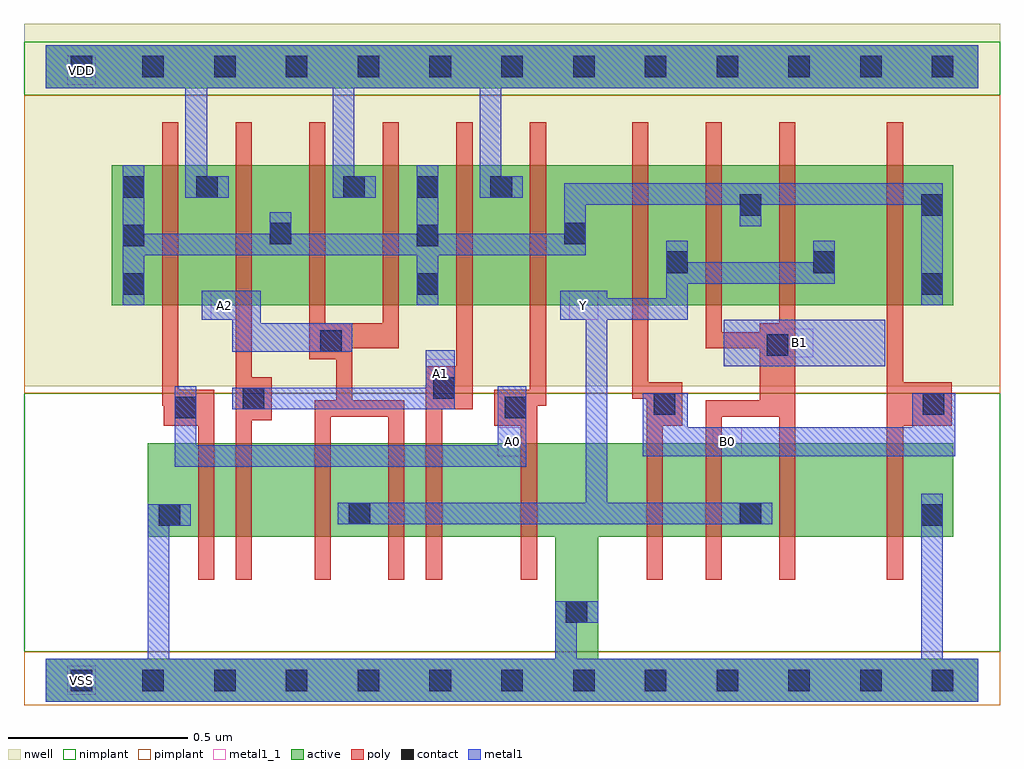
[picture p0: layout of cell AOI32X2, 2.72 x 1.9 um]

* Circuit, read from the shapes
.subckt AOI32X2 A0 A1 A2 B0 B1 VDD VSS Y
M1 n1 A0 VSS VSS nfet w=0.26u l=0.045u
M2 n2 A1 n1 VSS nfet w=0.26u l=0.045u
M3 Y A2 n2 VSS nfet w=0.26u l=0.045u
M4 n3 A2 Y VSS nfet w=0.26u l=0.045u
M5 n4 A1 n3 VSS nfet w=0.26u l=0.045u
M6 VSS A0 n4 VSS nfet w=0.26u l=0.045u
M7 n5 B0 VSS VSS nfet w=0.26u l=0.045u
M8 Y B1 n5 VSS nfet w=0.26u l=0.045u
M9 n6 B1 Y VSS nfet w=0.26u l=0.045u
M10 VSS B0 n6 VSS nfet w=0.26u l=0.045u
M11 VDD A0 n7 VDD pfet w=0.39u l=0.045u m=2
M12 n7 A1 VDD VDD pfet w=0.39u l=0.045u m=2
M13 VDD A2 n7 VDD pfet w=0.39u l=0.045u m=2
M14 Y B0 n7 VDD pfet w=0.39u l=0.045u m=2
M15 n7 B1 Y VDD pfet w=0.39u l=0.045u m=2
.ends

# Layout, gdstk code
import gdstk
lib = gdstk.Library(unit=1e-6, precision=5e-10)
def R(c, l, rs):  # rectangles x0, y0, x1, y1
    for r in rs: c.add(gdstk.rectangle(r[:2], r[2:], *l))
def A(c, l, x, y, w, h, nx, ny, dx, dy):  # array of equal rectangles
    R(c, l, [(x+i*dx, y+j*dy, x+i*dx+w, y+j*dy+h) for i in range(nx) for j in range(ny)])
def P(c, l, *ps):  # polygons
    for p in ps: c.add(gdstk.Polygon(p, *l))
active = (1, 0)
nwell = (2, 0)
poly = (3, 0)
nimplant = (4, 0)
pimplant = (5, 0)
contact = (6, 0)
metal1 = (7, 0)
metal1_1 = (7, 1)

aoi32x2 = lib.new_cell('AOI32X2')
R(aoi32x2, active, [(0.185,1.045,2.53,1.435), (0,1.65,2.6,1.77)])
P(aoi32x2, active, [(0.285,0.66),(2.53,0.66),(2.53,0.4),(1.54,0.4),(1.54,0.06),(2.6,0.06),(2.6,-0.06),(0,-0.06),(0,0.06),(1.42,0.06),(1.42,0.4),(0.285,0.4)])
R(aoi32x2, nwell, [(-0.06,0.82,2.66,1.83)])
P(aoi32x2, poly, [(0.325,1.555),(0.37,1.555),(0.37,0.81),(0.47,0.81),(0.47,0.28),(0.425,0.28),(0.425,0.71),(0.33,0.71),(0.33,0.765),(0.325,0.765)],
  [(0.53,1.555),(0.575,1.555),(0.575,0.845),(0.63,0.845),(0.63,0.725),(0.575,0.725),(0.575,0.28),(0.53,0.28)],
  [(0.735,1.555),(0.78,1.555),(0.78,0.995),(0.94,0.995),(0.94,1.555),(0.985,1.555),(0.985,0.925),(0.855,0.925),(0.855,0.78),(1,0.78),(1,0.28),(0.955,0.28),(0.955,0.735),(0.795,0.735),(0.795,0.28),(0.75,0.28),(0.75,0.78),(0.81,0.78),(0.81,0.895),(0.735,0.895)],
  [(1.145,1.555),(1.19,1.555),(1.19,0.755),(1.105,0.755),(1.105,0.28),(1.06,0.28),(1.06,0.875),(1.145,0.875)],
  [(1.35,1.555),(1.395,1.555),(1.395,0.765),(1.37,0.765),(1.37,0.28),(1.325,0.28),(1.325,0.71),(1.25,0.71),(1.25,0.81),(1.35,0.81)],
  [(1.635,1.555),(1.68,1.555),(1.68,0.83),(1.775,0.83),(1.775,0.71),(1.72,0.71),(1.72,0.28),(1.675,0.28),(1.675,0.785),(1.635,0.785)],
  [(1.84,1.555),(1.885,1.555),(1.885,0.97),(1.99,0.97),(1.99,0.995),(2.045,0.995),(2.045,1.555),(2.09,1.555),(2.09,0.28),(2.045,0.28),(2.045,0.735),(1.885,0.735),(1.885,0.28),(1.84,0.28),(1.84,0.78),(1.99,0.78),(1.99,0.925),(1.84,0.925)],
  [(2.345,1.555),(2.39,1.555),(2.39,0.83),(2.525,0.83),(2.525,0.71),(2.39,0.71),(2.39,0.28),(2.345,0.28)])
R(aoi32x2, nimplant, [(-0.06,0.08,2.66,0.8), (-0.06,1.63,2.66,1.78)])
R(aoi32x2, pimplant, [(-0.06,-0.07,2.66,0.08), (-0.06,0.8,2.66,1.63)])
A(aoi32x2, contact, 0.07, -0.03, 0.06, 0.06, 13, 2, 0.2, 1.71)
A(aoi32x2, contact, 0.215, 1.075, 0.06, 0.06, 1, 3, 0, 0.135)
A(aoi32x2, contact, 0.83, 1.345, 0.06, 0.06, 3, 1, 0.205, 0)
R(aoi32x2, contact, [(1.45,0.16,1.51,0.22), (0.315,0.43,0.375,0.49), (2.44,0.43,2.5,0.49), (0.845,0.435,0.905,0.495), (1.935,0.435,1.995,0.495), (0.36,0.73,0.42,0.79), (1.28,0.73,1.34,0.79), (1.695,0.74,1.755,0.8), (2.445,0.74,2.505,0.8), (0.55,0.755,0.61,0.815), (1.08,0.785,1.14,0.845), (2.01,0.905,2.07,0.965), (0.765,0.915,0.825,0.975), (1.035,1.075,1.095,1.135), (2.44,1.075,2.5,1.135), (1.73,1.135,1.79,1.195), (2.14,1.135,2.2,1.195), (1.035,1.21,1.095,1.27), (0.625,1.215,0.685,1.275), (1.445,1.215,1.505,1.275), (1.935,1.295,1.995,1.355), (2.44,1.295,2.5,1.355), (0.42,1.345,0.48,1.405)])
R(aoi32x2, metal1, [(1.89,0.875,2.34,1.005)])
P(aoi32x2, metal1, [(0,1.77),(2.6,1.77),(2.6,1.65),(1.27,1.65),(1.27,1.405),(1.33,1.405),(1.33,1.345),(1.21,1.345),(1.21,1.65),(0.86,1.65),(0.86,1.405),(0.92,1.405),(0.92,1.345),(0.8,1.345),(0.8,1.65),(0.45,1.65),(0.45,1.405),(0.51,1.405),(0.51,1.345),(0.39,1.345),(0.39,1.65),(0,1.65)],
  [(0.215,1.435),(0.275,1.435),(0.275,1.245),(0.625,1.245),(0.625,1.305),(0.685,1.305),(0.685,1.245),(1.035,1.245),(1.035,1.435),(1.095,1.435),(1.095,1.245),(1.445,1.245),(1.445,1.385),(2.5,1.385),(2.5,1.045),(2.44,1.045),(2.44,1.325),(1.995,1.325),(1.995,1.265),(1.935,1.265),(1.935,1.325),(1.505,1.325),(1.505,1.185),(1.095,1.185),(1.095,1.045),(1.035,1.045),(1.035,1.185),(0.275,1.185),(0.275,1.045),(0.215,1.045)],
  [(0.435,1.085),(0.6,1.085),(0.6,0.995),(0.855,0.995),(0.855,0.915),(0.52,0.915),(0.52,1.005),(0.435,1.005)],
  [(1.73,1.225),(1.79,1.225),(1.79,1.165),(2.14,1.165),(2.14,1.225),(2.2,1.225),(2.2,1.105),(1.79,1.105),(1.79,1.005),(1.565,1.005),(1.565,0.495),(2.025,0.495),(2.025,0.435),(0.815,0.435),(0.815,0.495),(1.505,0.495),(1.505,1.005),(1.435,1.005),(1.435,1.085),(1.565,1.085),(1.565,1.065),(1.73,1.065)],
  [(1.06,0.92),(1.14,0.92),(1.14,0.755),(0.52,0.755),(0.52,0.815),(1.06,0.815)],
  [(0.36,0.82),(0.42,0.82),(0.42,0.655),(1.26,0.655),(1.26,0.82),(1.34,0.82),(1.34,0.595),(0.36,0.595)],
  [(1.665,0.8),(1.79,0.8),(1.79,0.705),(2.415,0.705),(2.415,0.8),(2.535,0.8),(2.535,0.625),(1.665,0.625)],
  [(0.285,0.49),(0.405,0.49),(0.405,0.43),(0.345,0.43),(0.345,0.06),(1.42,0.06),(1.42,0.22),(1.54,0.22),(1.54,0.16),(1.48,0.16),(1.48,0.06),(2.44,0.06),(2.44,0.52),(2.5,0.52),(2.5,0.06),(2.6,0.06),(2.6,-0.06),(0,-0.06),(0,0.06),(0.285,0.06)])
R(aoi32x2, metal1_1, [(0.06,-0.04,0.14,0.04), (1.26,0.625,1.34,0.705), (1.86,0.625,1.94,0.705), (1.06,0.815,1.14,0.895), (2.06,0.9,2.14,0.98), (0.46,1.005,0.54,1.085), (1.46,1.005,1.54,1.085), (0.06,1.66,0.14,1.74)])
aoi32x2.add(gdstk.Label('B1', (2.1,0.94), layer=7, texttype=1))
aoi32x2.add(gdstk.Label('Y', (1.5,1.045), layer=7, texttype=1))
aoi32x2.add(gdstk.Label('A2', (0.5,1.045), layer=7, texttype=1))
aoi32x2.add(gdstk.Label('A1', (1.1,0.855), layer=7, texttype=1))
aoi32x2.add(gdstk.Label('A0', (1.3,0.665), layer=7, texttype=1))
aoi32x2.add(gdstk.Label('B0', (1.9,0.665), layer=7, texttype=1))
aoi32x2.add(gdstk.Label('VDD', (0.1,1.7), layer=7, texttype=1))
aoi32x2.add(gdstk.Label('VSS', (0.1,0), layer=7, texttype=1))
aoi32x2.add(gdstk.Label('AOI32X2', (0,0), layer=63, texttype=0))

lib.write_gds('AOI32X2.gds')
